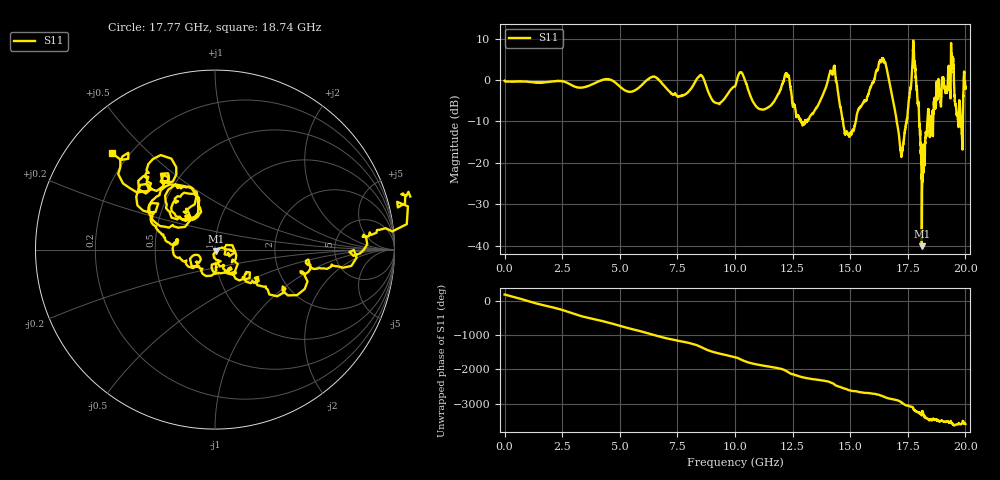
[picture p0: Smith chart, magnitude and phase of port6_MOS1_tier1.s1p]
! Created with skrf 1.8.0 (http://scikit-rf.org).
# GHz S RI R 50.0
!freq ReS11 ImS11
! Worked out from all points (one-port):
!   10000 points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, 3 MHz to 20 GHz, reference 50 ohm
!   lowest |S11| = -40.1 dB at 18.11 GHz (marker M1), VSWR 1.02, Z = 50.5 - j0.875 ohm
!   |S11| at or under -10 dB: 14.69 GHz to 15.24 GHz (555 MHz wide, 3.71 % of centre); 17.02 GHz to 17.45 GHz (430.1 MHz wide, 2.5 % of centre); 18 GHz to 18.35 GHz (355.7 MHz wide, 1.96 % of centre) (the widest 3 of 11)
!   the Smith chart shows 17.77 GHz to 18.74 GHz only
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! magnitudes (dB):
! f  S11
! 3 MHz  -0.2
! 2.503 GHz  -0.3
! 5.003 GHz  -1.6
! 6.501 GHz  0.9
! 7.503 GHz  -3.9
! 8.491 GHz  1.2
! 9.233 GHz  -5.6
! 10 GHz  -1.5
! 10.29 GHz  1.8
! 11.25 GHz  -7.1
! 12.25 GHz  1.1
! 12.5 GHz  -6.1
! 13.1 GHz  -9.8
! 14.25 GHz  1.7
! 14.73 GHz  -11.5
! 15 GHz  -13.0
! 16.35 GHz  4.5
! 16.61 GHz  2.2
! 17.22 GHz  -18.4
! 17.5 GHz  -7.3
! 17.68 GHz  1.9
! 17.78 GHz  4.4
! 18.11 GHz  -40.1
! 18.81 GHz  -1.0
! 19.41 GHz  4.2
! 19.62 GHz  -8.1
! 19.79 GHz  -8.6
! 20 GHz  -2.1
